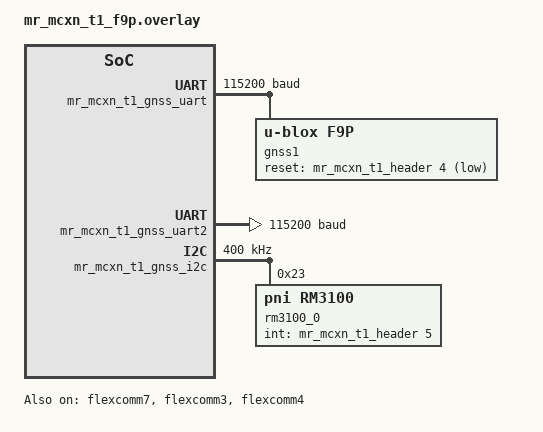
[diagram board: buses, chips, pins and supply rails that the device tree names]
/*
 * Copyright (c) 2026 CogniPilot Foundation
 *
 * SPDX-License-Identifier: Apache-2.0
 */

#include <zephyr/dt-bindings/gpio/gpio.h>
#include <zephyr/dt-bindings/i2c/i2c.h>
#include <zephyr/dt-bindings/sensor/rm3100.h>

/ {
	aliases {
		gnss = &gnss1;
		mag-stream-0 = &rm3100_0;
	};
};

/*
 * u-blox F9P primary UART (receiver UART1) on FlexCOMM7. The board leaves
 * the FlexCOMM parents and their children disabled; enable the parent and
 * the UART child here. The reset line comes through the stacking-header GPIO
 * nexus. Output rate (fix-rate) is left at the driver default so it stays an
 * application choice.
 */
&flexcomm7 {
	status = "okay";
};

&mr_mcxn_t1_gnss_uart {
	status = "okay";
	current-speed = <115200>;

	gnss1: gnss {
		compatible = "u-blox,f9p";
		initial-baudrate = <38400>;
		reset-gpios = <&mr_mcxn_t1_header 4 GPIO_ACTIVE_LOW>;
	};
};

/*
 * F9P corrections UART (receiver UART2) on FlexCOMM3: RTCM base-station
 * output / correction input port.
 */
&flexcomm3 {
	status = "okay";
};

&mr_mcxn_t1_gnss_uart2 {
	status = "okay";
	current-speed = <115200>;
};

/*
 * PNI RM3100 magnetometer on FlexCOMM4 I2C. Address 0x23: the SA0 and SA1
 * strap pins float high through the chip's internal pull-ups. The data-ready
 * line comes through the stacking-header GPIO nexus.
 */
&flexcomm4 {
	status = "okay";
};

&mr_mcxn_t1_gnss_i2c {
	status = "okay";
	clock-frequency = <I2C_BITRATE_FAST>;

	rm3100_0: rm3100@23 {
		compatible = "pni,rm3100";
		reg = <0x23>;
		int-gpios = <&mr_mcxn_t1_header 5 GPIO_ACTIVE_HIGH>;
		odr = <RM3100_DT_ODR_150>;
	};
};
